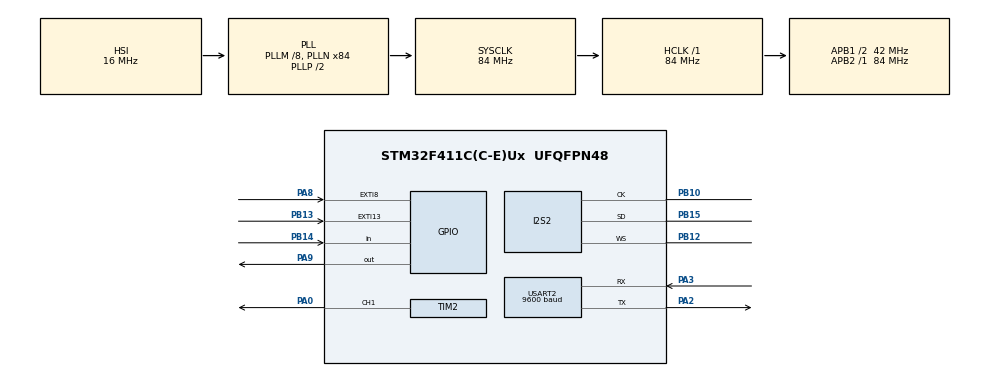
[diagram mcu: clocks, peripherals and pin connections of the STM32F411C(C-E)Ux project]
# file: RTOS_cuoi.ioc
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Dma.Request0=SPI2_RX
Dma.SPI2_RX.0.Direction=DMA_PERIPH_TO_MEMORY
Dma.SPI2_RX.0.FIFOMode=DMA_FIFOMODE_DISABLE
Dma.SPI2_RX.0.Instance=DMA1_Stream3
Dma.SPI2_RX.0.MemDataAlignment=DMA_MDATAALIGN_HALFWORD
Dma.SPI2_RX.0.MemInc=DMA_MINC_ENABLE
Dma.SPI2_RX.0.Mode=DMA_CIRCULAR
Dma.SPI2_RX.0.PeriphDataAlignment=DMA_PDATAALIGN_HALFWORD
Dma.SPI2_RX.0.PeriphInc=DMA_PINC_DISABLE
Dma.SPI2_RX.0.Priority=DMA_PRIORITY_LOW
FREERTOS.Tasks01=I2S_led,12,128,I2S_ledTask,Default,NULL,Dynamic,NULL,NULL
I2S2.AudioFreq=I2S_AUDIOFREQ_16K
I2S2.ErrorAudioFreq=-0.26 %
I2S2.FullDuplexMode=I2S_FULLDUPLEXMODE_DISABLE
I2S2.Instance=SPI$Index
I2S2.Mode=I2S_MODE_MASTER_RX
I2S2.RealAudioFreq=15.957 KHz
I2S2.VirtualMode=I2S_MODE_MASTER
Mcu.Family=STM32F4
Mcu.Name=STM32F411C(C-E)Ux
Mcu.Package=UFQFPN48
NVIC.DMA1_Stream3_IRQn=true\:5\:0\:false\:false\:true\:true\:false\:true\:true
NVIC.EXTI15_10_IRQn=true\:5\:0\:false\:false\:true\:true\:true\:true\:true
NVIC.EXTI9_5_IRQn=true\:5\:0\:false\:false\:true\:true\:true\:true\:true
NVIC.PriorityGroup=NVIC_PRIORITYGROUP_4
NVIC.TIM4_IRQn=true\:15\:0\:false\:false\:true\:false\:false\:true\:true
NVIC.TimeBase=TIM4_IRQn
NVIC.TimeBaseIP=TIM4
PA0-WKUP.Signal=S_TIM2_CH1_ETR
PA13.Mode=Serial_Wire
PA13.Signal=SYS_JTMS-SWDIO
PA14.Mode=Serial_Wire
PA14.Signal=SYS_JTCK-SWCLK
PA2.Mode=Asynchronous
PA2.Signal=USART2_TX
PA3.Mode=Asynchronous
PA3.Signal=USART2_RX
PA8.GPIO_ModeDefaultEXTI=GPIO_MODE_IT_RISING
PA8.GPIO_PuPd=GPIO_PULLUP
PA8.Signal=GPXTI8
PA9.GPIO_Speed=GPIO_SPEED_FREQ_LOW
PA9.Signal=GPIO_Output
PB10.Mode=Half_Duplex_Master
PB10.Signal=I2S2_CK
PB12.Mode=Half_Duplex_Master
PB12.Signal=I2S2_WS
PB13.GPIO_PuPd=GPIO_PULLUP
PB13.Signal=GPXTI13
PB14.GPIO_PuPd=GPIO_PULLUP
PB14.Signal=GPIO_Input
PB15.Mode=Half_Duplex_Master
PB15.Signal=I2S2_SD
PH0\ -\ OSC_IN.Mode=HSE-External-Oscillator
PH0\ -\ OSC_IN.Signal=RCC_OSC_IN
PH1\ -\ OSC_OUT.Mode=HSE-External-Oscillator
PH1\ -\ OSC_OUT.Signal=RCC_OSC_OUT
ProjectManager.HeapSize=0x200
ProjectManager.StackSize=0x400
ProjectManager.TargetToolchain=STM32CubeIDE
RCC.48MHZClocksFreq_Value=42000000
RCC.AHBFreq_Value=84000000
RCC.APB1CLKDivider=RCC_HCLK_DIV2
RCC.APB1Freq_Value=42000000
RCC.APB1TimFreq_Value=84000000
RCC.APB2Freq_Value=84000000
RCC.APB2TimFreq_Value=84000000
RCC.CortexFreq_Value=84000000
RCC.HCLKFreq_Value=84000000
RCC.HSE_VALUE=25000000
RCC.HSI_VALUE=16000000
RCC.LSE_VALUE=32768
RCC.PLLM=8
RCC.PLLN=84
RCC.SYSCLKFreq_VALUE=84000000
RCC.SYSCLKSource=RCC_SYSCLKSOURCE_PLLCLK
RCC.VCOOutputFreq_Value=168000000
SH.S_TIM2_CH1_ETR.0=TIM2_CH1,PWM Generation1 CH1
TIM2.AutoReloadPreload=TIM_AUTORELOAD_PRELOAD_ENABLE
TIM2.Channel-PWM\ Generation1\ CH1=TIM_CHANNEL_1
TIM2.Period=104
USART2.BaudRate=9600
USART2.VirtualMode=VM_ASYNC
VP_FREERTOS_VS_CMSIS_V2.Mode=CMSIS_V2
VP_SYS_VS_tim4.Mode=TIM4
board=custom

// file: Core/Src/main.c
/* USER CODE BEGIN Header */
/**
  ******************************************************************************
  * @file           : main.c
  * @brief          : Main program body
  ******************************************************************************
  */
/* USER CODE END Header */
#include "main.h"
#include "cmsis_os.h"

/* USER CODE BEGIN Includes */
#include "stdarg.h"
#include <string.h>
#include <stdio.h>
#include <stdlib.h>
#include "I2c.h"
#include "Flash.h"
#include "Oled.h"
#include "RTC.h"
#include "Led.h"
#include "DFPLAYER.h"
/* USER CODE END Includes */

I2S_HandleTypeDef hi2s2;
DMA_HandleTypeDef hdma_spi2_rx;

TIM_HandleTypeDef htim2;

UART_HandleTypeDef huart2;

/* Definitions for I2S_led */
osThreadId_t I2S_ledHandle;
const osThreadAttr_t I2S_led_attributes = {
  .name = "I2S_led",
  .stack_size = 128 * 4,
  .priority = (osPriority_t) osPriorityHigh,
};
/* USER CODE BEGIN PV */
osThreadId_t I2C_TimeHandle;
const osThreadAttr_t I2C_Time_atributes = {
    .name = "I2C_Time",
    .stack_size = 256*4,
    .priority = (osPriority_t)osPriorityBelowNormal,
};
osThreadId_t I2C_Time_ClockHandle;
const osThreadAttr_t I2C_Time_Clock_atributes = {
    .name = "I2C_Time_Clock",
    .stack_size = 128*4,
    .priority = (osPriority_t)osPriorityNormal,
};

#define AUDIO_BUFFER_SIZE 1024
uint16_t audio_buffer[AUDIO_BUFFER_SIZE];
volatile uint8_t data_ready_flag = 0;
/* USER CODE END PV */

void SystemClock_Config(void);
static void MX_GPIO_Init(void);
static void MX_DMA_Init(void);
static void MX_TIM2_Init(void);
static void MX_I2S2_Init(void);
static void MX_USART2_UART_Init(void);
void I2S_ledTask(void *argument);
void I2C_TimeTask(void *argument);
void I2C_Time_ClockTask(void *argument);

/* USER CODE BEGIN 0 */
char chuyendoi[20];
char chuyen[25];

void chuyen_doi1(RTC_1307_time gia_tri){
    sprintf(chuyendoi, "%02d:%02d:%02d",
            gia_tri.register_hours,
            gia_tri.register_Minutes,
            gia_tri.register_seconds);
}

typedef enum {
    STATE_DONG_HO = 0,
    STATE_MAIN_MENU,
    STATE_SET_RTC_THU,
    STATE_SET_RTC_GIO,
    STATE_SET_RTC_PHUT,
    STATE_SET_RTC_NGAY,
    STATE_SET_RTC_THANG,
    STATE_SET_RTC_NAM,
    STATE_MENU_CHON_ALM,
    STATE_EDIT_ALM_GIO,
    STATE_EDIT_ALM_PHUT,
    STATE_CONFIRM_SAVE,
	STATE_MUSIC,
	STATE_MUSIC_ALM,
	STATE_MUSIC_SONG,
	STATE_MUSIC_SAVE,
	STATE_MUSIC_OFF
} UI_State_t;

UI_State_t trang_thai_ui = STATE_DONG_HO;
DFPLAYER_Name MP3;

HenGio_t danh_sach_bao_thuc[2];

uint8_t vi_tri_menu_chinh = 0;
uint8_t alm_dang_chon = 0;
uint8_t lua_chon_save = 1;
uint8_t lua_chon_save_bh =1;
uint8_t ghi_0_Flash = 0xFF;

volatile uint8_t flag_MENU = 0;
volatile uint8_t flag_ENTER = 0;
volatile uint8_t co_luu_rtc = 0;
volatile uint8_t co_luu_flash = 0;

volatile uint32_t thoi_gian_chong_nhieu_pin13 = 0;
volatile uint32_t thoi_gian_chong_nhieu_pin8 = 0;
// cho hàm loa
uint8_t Rx_Buffer [10];

void HAL_GPIO_EXTI_Callback(uint16_t GPIO_Pin){
    if (GPIO_Pin == GPIO_PIN_13){ // Nút PB13 làm Nút Menu/Thoát
        if ((HAL_GetTick() - thoi_gian_chong_nhieu_pin13) > 300){
            flag_MENU = 1;
            thoi_gian_chong_nhieu_pin13 = HAL_GetTick();
        }
    }
    if (GPIO_Pin == GPIO_PIN_8){  // Nút PA8 làm Nút Enter
        if ((HAL_GetTick() - thoi_gian_chong_nhieu_pin8) > 300){
            flag_ENTER = 1;
            thoi_gian_chong_nhieu_pin8 = HAL_GetTick();
        }
    }
}

//uint8_t Check_Button_Next(void) {
//    if (HAL_GPIO_ReadPin(GPIOB, GPIO_PIN_14) == GPIO_PIN_RESET) {
//        osDelay(50);
//        if (HAL_GPIO_ReadPin(GPIOB, GPIO_PIN_14) == GPIO_PIN_RESET) {
//            while(HAL_GPIO_ReadPin(GPIOB, GPIO_PIN_14) == GPIO_PIN_RESET) { osDelay(10); }
//            return 1;
//        }
//    }
//    return 0;
//}
uint8_t Check_Button_Next(void) {
    // Biến static để nhớ thời gian giữ nút qua mỗi vòng lặp
    static uint16_t time_hold = 0;

    // Nút đang bị ấn xuống (Mức 0)
    if (HAL_GPIO_ReadPin(GPIOB, GPIO_PIN_14) == GPIO_PIN_RESET) {
        time_hold++; // Tăng bộ đếm thời gian giữ

        // 1. BẤM NHẢ BÌNH THƯỜNG (Xử lý ngay ở lần quét đầu tiên)
        if (time_hold == 1) {
            osDelay(20); // Chống nhiễu nhẹ
            if (HAL_GPIO_ReadPin(GPIOB, GPIO_PIN_14) == GPIO_PIN_RESET) {
                return 1; // Bấm phát ăn ngay 1 đơn vị
            } else {
                time_hold = 0; // Nhiễu thì reset
            }
        }
        // 2. NHẤN GIỮ TĂNG TỐC
        // Vòng lặp RTOS của bạn đang trễ 50ms.
        // Đợi time_hold > 10 (tức là 10 * 50ms = 500ms) thì bắt đầu tăng liên tục
        else if (time_hold > 6) {
            time_hold = 3; // Trả bộ đếm về 7 để 3 vòng lặp sau (150ms) nó lại nhảy vào đây tiếp -> Tốc độ tăng vừa phải không bị vụt quá nhanh
            return 1;
        }
    }
    // Người dùng đã nhả nút (Mức 1)
    else {
        time_hold = 0; // Reset bộ đếm về 0 để sẵn sàng cho lần bấm tiếp theo
    }

    return 0; // Không có sự kiện bấm
}
void turn_on_off (int on_off,DFPLAYER_Name* MP3,uint8_t folder, uint32_t num ){

	if (on_off==1){
		DFPLAYER_PlayFileInFolder(MP3, folder, num);
	}
	if (on_off==0){
		DFPLAYER_Stop(MP3);
	}
	vTaskResume(I2S_ledHandle);
	vTaskResume(I2C_Time_ClockHandle);
}

/* USER CODE END 0 */

int main(void)
{

  /* MCU Configuration--------------------------------------------------------*/

  /* Reset of all peripherals, Initializes the Flash interface and the Systick. */
  HAL_Init();

  /* Configure the system clock */
  SystemClock_Config();

  /* Initialize all configured peripherals */
  MX_GPIO_Init();
  MX_DMA_Init();
  MX_TIM2_Init();
  MX_I2S2_Init();
  MX_USART2_UART_Init();

  /* Init scheduler */
  osKernelInitialize();

  /* Create the thread(s) */
  /* creation of I2S_led */
  I2S_ledHandle = osThreadNew(I2S_ledTask, NULL, &I2S_led_attributes);

  /* USER CODE BEGIN RTOS_THREADS */
  I2C_TimeHandle      = osThreadNew(I2C_TimeTask,       NULL, &I2C_Time_atributes);
  I2C_Time_ClockHandle= osThreadNew(I2C_Time_ClockTask, NULL, &I2C_Time_Clock_atributes);
  /* add threads, ... */
  /* USER CODE END RTOS_THREADS */

  /* Start scheduler */
  osKernelStart();

  /* We should never get here as control is now taken by the scheduler */

  /* Infinite loop */
  while (1)
  {

  }
}

void SystemClock_Config(void)
{
  RCC_OscInitTypeDef RCC_OscInitStruct = {0};
  RCC_ClkInitTypeDef RCC_ClkInitStruct = {0};

  /** Configure the main internal regulator output voltage
  */
  __HAL_RCC_PWR_CLK_ENABLE();
  __HAL_PWR_VOLTAGESCALING_CONFIG(PWR_REGULATOR_VOLTAGE_SCALE1);

  /** Initializes the RCC Oscillators according to the specified parameters
  * in the RCC_OscInitTypeDef structure.
  */
  RCC_OscInitStruct.OscillatorType = RCC_OSCILLATORTYPE_HSI;
  RCC_OscInitStruct.HSIState = RCC_HSI_ON;
  RCC_OscInitStruct.HSICalibrationValue = RCC_HSICALIBRATION_DEFAULT;
  RCC_OscInitStruct.PLL.PLLState = RCC_PLL_ON;
  RCC_OscInitStruct.PLL.PLLSource = RCC_PLLSOURCE_HSI;
  RCC_OscInitStruct.PLL.PLLM = 8;
  RCC_OscInitStruct.PLL.PLLN = 84;
  RCC_OscInitStruct.PLL.PLLP = RCC_PLLP_DIV2;
  RCC_OscInitStruct.PLL.PLLQ = 4;
  if (HAL_RCC_OscConfig(&RCC_OscInitStruct) != HAL_OK)
  {
    Error_Handler();
  }

  /** Initializes the CPU, AHB and APB buses clocks
  */
  RCC_ClkInitStruct.ClockType = RCC_CLOCKTYPE_HCLK|RCC_CLOCKTYPE_SYSCLK
                              |RCC_CLOCKTYPE_PCLK1|RCC_CLOCKTYPE_PCLK2;
  RCC_ClkInitStruct.SYSCLKSource = RCC_SYSCLKSOURCE_PLLCLK;
  RCC_ClkInitStruct.AHBCLKDivider = RCC_SYSCLK_DIV1;
  RCC_ClkInitStruct.APB1CLKDivider = RCC_HCLK_DIV2;
  RCC_ClkInitStruct.APB2CLKDivider = RCC_HCLK_DIV1;

  if (HAL_RCC_ClockConfig(&RCC_ClkInitStruct, FLASH_LATENCY_2) != HAL_OK)
  {
    Error_Handler();
  }
}

static void MX_I2S2_Init(void)
{

  hi2s2.Instance = SPI2;
  hi2s2.Init.Mode = I2S_MODE_MASTER_RX;
  hi2s2.Init.Standard = I2S_STANDARD_PHILIPS;
  hi2s2.Init.DataFormat = I2S_DATAFORMAT_16B;
  hi2s2.Init.MCLKOutput = I2S_MCLKOUTPUT_DISABLE;
  hi2s2.Init.AudioFreq = I2S_AUDIOFREQ_16K;
  hi2s2.Init.CPOL = I2S_CPOL_LOW;
  hi2s2.Init.ClockSource = I2S_CLOCK_PLL;
  hi2s2.Init.FullDuplexMode = I2S_FULLDUPLEXMODE_DISABLE;
  if (HAL_I2S_Init(&hi2s2) != HAL_OK)
  {
    Error_Handler();
  }

}

static void MX_TIM2_Init(void)
{

  TIM_MasterConfigTypeDef sMasterConfig = {0};
  TIM_OC_InitTypeDef sConfigOC = {0};

  htim2.Instance = TIM2;
  htim2.Init.Prescaler = 0;
  htim2.Init.CounterMode = TIM_COUNTERMODE_UP;
  htim2.Init.Period = 104;
  htim2.Init.ClockDivision = TIM_CLOCKDIVISION_DIV1;
  htim2.Init.AutoReloadPreload = TIM_AUTORELOAD_PRELOAD_ENABLE;
  if (HAL_TIM_PWM_Init(&htim2) != HAL_OK)
  {
    Error_Handler();
  }
  sMasterConfig.MasterOutputTrigger = TIM_TRGO_RESET;
  sMasterConfig.MasterSlaveMode = TIM_MASTERSLAVEMODE_DISABLE;
  if (HAL_TIMEx_MasterConfigSynchronization(&htim2, &sMasterConfig) != HAL_OK)
  {
    Error_Handler();
  }
  sConfigOC.OCMode = TIM_OCMODE_PWM1;
  sConfigOC.Pulse = 0;
  sConfigOC.OCPolarity = TIM_OCPOLARITY_HIGH;
  sConfigOC.OCFastMode = TIM_OCFAST_DISABLE;
  if (HAL_TIM_PWM_ConfigChannel(&htim2, &sConfigOC, TIM_CHANNEL_1) != HAL_OK)
  {
    Error_Handler();
  }
  HAL_TIM_MspPostInit(&htim2);

}

static void MX_USART2_UART_Init(void)
{

  huart2.Instance = USART2;
  huart2.Init.BaudRate = 9600;
  huart2.Init.WordLength = UART_WORDLENGTH_8B;
  huart2.Init.StopBits = UART_STOPBITS_1;
  huart2.Init.Parity = UART_PARITY_NONE;
  huart2.Init.Mode = UART_MODE_TX_RX;
  huart2.Init.HwFlowCtl = UART_HWCONTROL_NONE;
  huart2.Init.OverSampling = UART_OVERSAMPLING_16;
  if (HAL_UART_Init(&huart2) != HAL_OK)
  {
    Error_Handler();
  }

}

static void MX_DMA_Init(void)
{

  /* DMA controller clock enable */
  __HAL_RCC_DMA1_CLK_ENABLE();

  /* DMA interrupt init */
  /* DMA1_Stream3_IRQn interrupt configuration */
  HAL_NVIC_SetPriority(DMA1_Stream3_IRQn, 5, 0);
  HAL_NVIC_EnableIRQ(DMA1_Stream3_IRQn);

}

static void MX_GPIO_Init(void)
{
  GPIO_InitTypeDef GPIO_InitStruct = {0};

  /* GPIO Ports Clock Enable */
  __HAL_RCC_GPIOH_CLK_ENABLE();
  __HAL_RCC_GPIOA_CLK_ENABLE();
  __HAL_RCC_GPIOB_CLK_ENABLE();

  /*Configure GPIO pin Output Level */
  HAL_GPIO_WritePin(GPIOA, GPIO_PIN_9, GPIO_PIN_RESET);

  /*Configure GPIO pin : PB13 */
  GPIO_InitStruct.Pin = GPIO_PIN_13;
  GPIO_InitStruct.Mode = GPIO_MODE_IT_RISING;
  GPIO_InitStruct.Pull = GPIO_PULLUP;
  HAL_GPIO_Init(GPIOB, &GPIO_InitStruct);

  /*Configure GPIO pin : PB14 */
  GPIO_InitStruct.Pin = GPIO_PIN_14;
  GPIO_InitStruct.Mode = GPIO_MODE_INPUT;
  GPIO_InitStruct.Pull = GPIO_PULLUP;
  HAL_GPIO_Init(GPIOB, &GPIO_InitStruct);

  /*Configure GPIO pin : PA8 */
  GPIO_InitStruct.Pin = GPIO_PIN_8;
  GPIO_InitStruct.Mode = GPIO_MODE_IT_RISING;
  GPIO_InitStruct.Pull = GPIO_PULLUP;
  HAL_GPIO_Init(GPIOA, &GPIO_InitStruct);

  /*Configure GPIO pin : PA9 */
  GPIO_InitStruct.Pin = GPIO_PIN_9;
  GPIO_InitStruct.Mode = GPIO_MODE_OUTPUT_PP;
  GPIO_InitStruct.Pull = GPIO_NOPULL;
  GPIO_InitStruct.Speed = GPIO_SPEED_FREQ_LOW;
  HAL_GPIO_Init(GPIOA, &GPIO_InitStruct);

  /* EXTI interrupt init*/
  HAL_NVIC_SetPriority(EXTI9_5_IRQn, 5, 0);
  HAL_NVIC_EnableIRQ(EXTI9_5_IRQn);

  HAL_NVIC_SetPriority(EXTI15_10_IRQn, 5, 0);
  HAL_NVIC_EnableIRQ(EXTI15_10_IRQn);

}

/* USER CODE BEGIN 4 */
void HAL_I2S_RxHalfCpltCallback(I2S_HandleTypeDef *hi2s) { if (hi2s->Instance == SPI2) data_ready_flag = 1; }
void HAL_I2S_RxCpltCallback(I2S_HandleTypeDef *hi2s)     { if (hi2s->Instance == SPI2) data_ready_flag = 2; }
void HAL_I2S_ErrorCallback(I2S_HandleTypeDef *hi2s)       { if (hi2s->Instance == SPI2) HAL_I2S_Receive_DMA(&hi2s2, audio_buffer, AUDIO_BUFFER_SIZE); }

/* ======================================================================
 * TASK QUẢN LÝ GIAO DIỆN OLED (BẢO VỆ I2C BẰNG vTaskSuspendAll)
 * ====================================================================== */
void I2C_TimeTask(void *argument){
    I2C_Init();
    MX_USART2_UART_Init();
  // cau_hinh(&timer);
    OLED_init();
    Clear_all();
	DFPLAYER_Init(&MP3, &huart2);

    static uint8_t giay_cu = 255;
    static uint8_t vi_tri_menu_Music =0;
    static uint8_t chon_nhac =0;
    static uint32_t tong_bai_hat =5;
    static uint8_t am_thanh=5;
    static uint8_t am_thanh_co =0;

    Read_Flash((void*)FLASH_HEN_GIO_ADDR, (char*)danh_sach_bao_thuc, sizeof(danh_sach_bao_thuc));
    for (int i = 0; i < 2; i++) {
        if (danh_sach_bao_thuc[i].da_dat != 0xFF) {
            if (danh_sach_bao_thuc[i].gio > 23 || danh_sach_bao_thuc[i].phut > 59) {
                danh_sach_bao_thuc[i].da_dat = 0xFF;
            }
        }
    }

    uint8_t old_ui_state = 255;

    while(1){
        // 1. CẬP NHẬT DỮ LIỆU I2C AN TOÀN
    	uint8_t btn_next = Check_Button_Next();
        if (co_luu_rtc == 1) {
            vTaskSuspendAll(); cau_hinh(&timer); xTaskResumeAll();
            co_luu_rtc = 0;
        }

        if (trang_thai_ui == STATE_DONG_HO || trang_thai_ui == STATE_MAIN_MENU || trang_thai_ui >= STATE_MENU_CHON_ALM ) {
            vTaskSuspendAll(); doc(&timer); xTaskResumeAll();

        }
        if (am_thanh_co==1){
        	osDelay(10);
        	vTaskSuspendAll();
        	Clear_page();
        	xTaskResumeAll();
        }

        //chuyen_doi1(timer);

        // 2. VẼ MÀN HÌNH CHUNG LÊN OLED AN TOÀN
//        vTaskSuspendAll();
//        point_many(0, 15, chuyendoi);
//        sprintf(chuyen, "%s %02d.%02d.%02d", mang_thu[timer.register_Day], timer.register_Date, timer.register_Month, timer.register_Year);
//
//        oled_string_5x7(3, 20, chuyen);
//        xTaskResumeAll();
       // if (timer.register_seconds != giay_cu) {

                    // 1. Chuyển đổi dữ liệu (Chạy cực nhanh trên RAM, không cần khóa)
                    chuyen_doi1(timer);
                    sprintf(chuyen, "%s %02d.%02d.%02d", mang_thu[timer.register_Day], timer.register_Date, timer.register_Month, timer.register_Year);

                    vTaskSuspendAll();
                    point_many(0, 15, chuyendoi);
                    xTaskResumeAll();  // Mở khóa ra ngay lập tức

                    osDelay(2);

                    // 3. Khóa RTOS lại để truyền dòng 2 (Ngày tháng năm)
                    vTaskSuspendAll();
                    oled_string_5x7(3, 20, chuyen);
                    xTaskResumeAll(); // Lại mở khóa ra

                    // 4. Cập nhật lại mốc thời gian
                    giay_cu = timer.register_seconds;
         //       }

        if (trang_thai_ui != old_ui_state) {
            vTaskSuspendAll(); Clear_page(); xTaskResumeAll();
            old_ui_state = trang_thai_ui;
        }

        // 3. ĐỌC NÚT BẤM (KHÔNG ĐƯỢC CHỨA TRONG vTaskSuspendAll)
        //uint8_t btn_next = Check_Button_Next();

        // 4. MÁY TRẠNG THÁI (VẼ UI VÀ XỬ LÝ LOGIC)
        switch(trang_thai_ui) {
            case STATE_DONG_HO:
                // --- PHẦN VẼ UI ---
                if (btn_next) {
                	am_thanh++;
                	if(am_thanh >29 ) am_thanh=0;
                	DFPLAYER_SetVolume(&MP3,am_thanh);
                	vTaskSuspendAll();
                	sprintf(chuyen, "LOA  %02d", am_thanh);
                	point_many(4, 12, chuyen);
                	//am_thanh_co=1;
                	xTaskResumeAll();
                }
                osDelay(10);
                vTaskSuspendAll();
                if (ghi_0_Flash != 0xFF) { // khi cờ báo thức được set
                    if ((HAL_GetTick() / 300) % 2 == 0){
                    	Clear_page();
                    	oled_string_5x7(5, 25, "DEN GIO !!!");
                    	//oled_string_5x7(7, 25, "BAM NUT TAT");
                    } else {
                    	Clear_page();
                    	oled_string_5x7(5, 25, "           ");
                    	//oled_string_5x7(7, 25, "           ");
                    }
                } else {
                    if (danh_sach_bao_thuc[0].da_dat == 1 || danh_sach_bao_thuc[1].da_dat == 1) {
                    	Clear_page();
                        oled_string_5x7(7, 30, "HEN GIO BAT");
                    } else {
                    	Clear_page();
                        oled_string_5x7(7, 30, "HEN GIO TAT");
                    }
                }
                xTaskResumeAll();

                // --- PHẦN LOGIC --- khi cờ ghi_0_Flash dược set ( có báo thức) Khi nhấn nút thì tắt còi
                // rồi ghi vào Flash.da_dat =0
                if (ghi_0_Flash != 0xFF) {
                    if (flag_MENU || flag_ENTER) {
                        //HAL_GPIO_WritePin(GPIOA, GPIO_PIN_9, 0); // Tắt còi
                    	DFPLAYER_Stop(&MP3);
                        if (ghi_0_Flash < 2) {
                            danh_sach_bao_thuc[ghi_0_Flash].da_dat = 0;
                            co_luu_flash = 1;
                        }
                        ghi_0_Flash = 0xFF;
                        flag_MENU = 0; flag_ENTER = 0;
                        vTaskSuspendAll(); Clear_page(); xTaskResumeAll();
                    }
                } else {
                    if (flag_MENU || flag_ENTER) {
                        flag_MENU = 0; flag_ENTER = 0;
                        trang_thai_ui = STATE_MAIN_MENU;
                        vi_tri_menu_chinh = 0;
                    }
                }
                break;

            case STATE_MAIN_MENU:
                vTaskSuspendAll();
                oled_string_5x7(4, 0, "--- MAIN MENU ---");
                if (vi_tri_menu_chinh == 0) {
                    oled_string_5x7(5, 5, "> 1. SET CLOCK");
                    oled_string_5x7(6, 5, "  2. SET HEN GIO");
                    oled_string_5x7(7, 5, "  3. SET MUSIC");
                } else if  (vi_tri_menu_chinh ==1) {
                    oled_string_5x7(5, 5, "  1. SET CLOCK");
                    oled_string_5x7(6, 5, "> 2. SET HEN GIO");
                    oled_string_5x7(7, 5, "  3. SET MUSIC");
                } else {
                    oled_string_5x7(5, 5, "  1. SET CLOCK");
                    oled_string_5x7(6, 5, "  2. SET HEN GIO");
                    oled_string_5x7(7, 5, "> 3. SET MUSIC");
                }
                xTaskResumeAll();

                if (btn_next) {
                	vi_tri_menu_chinh ++;
                	if (vi_tri_menu_chinh>2)vi_tri_menu_chinh=0;
                 }
                if (flag_ENTER) {
                    flag_ENTER = 0;
                    if (vi_tri_menu_chinh == 0) trang_thai_ui = STATE_SET_RTC_THU;
                    else if (vi_tri_menu_chinh==1) trang_thai_ui = STATE_MENU_CHON_ALM;
                    else {
                    	vi_tri_menu_Music=0;
                    	trang_thai_ui = STATE_MUSIC;

                    }
                }
                if (flag_MENU) {
                    flag_MENU = 0;
                    trang_thai_ui = STATE_DONG_HO;
                }
                break;

            case STATE_SET_RTC_THU:
                vTaskSuspendAll();
                oled_string_5x7(4, 0, "-- SET CLOCK --");
                sprintf(chuyen, "> DAY : %s", mang_thu[timer.register_Day]);
                oled_string_5x7(6, 5, chuyen);
                xTaskResumeAll();

                if (btn_next) { timer.register_Day++; if(timer.register_Day > 7) timer.register_Day = 1; }
                if (flag_ENTER) { flag_ENTER = 0; trang_thai_ui = STATE_SET_RTC_GIO; }
                if (flag_MENU) { flag_MENU = 0; trang_thai_ui = STATE_MAIN_MENU; }
                break;

            case STATE_SET_RTC_GIO:
                vTaskSuspendAll();
                oled_string_5x7(4, 0, "-- SET CLOCK --");
                sprintf(chuyen, "> HOUR: %02d", timer.register_hours);
                oled_string_5x7(6, 5, chuyen);
                xTaskResumeAll();

                if (btn_next) { timer.register_hours++; if(timer.register_hours > 23) timer.register_hours = 0; }
                if (flag_ENTER) { flag_ENTER = 0; trang_thai_ui = STATE_SET_RTC_PHUT; }
                if (flag_MENU) { flag_MENU = 0; trang_thai_ui = STATE_SET_RTC_THU; }
                break;

            case STATE_SET_RTC_PHUT:
                vTaskSuspendAll();
                oled_string_5x7(4, 0, "-- SET CLOCK --");
                sprintf(chuyen, "> MIN : %02d", timer.register_Minutes);
                oled_string_5x7(6, 5, chuyen);
                xTaskResumeAll();

                if (btn_next) { timer.register_Minutes++; if(timer.register_Minutes > 59) timer.register_Minutes = 0; }
                if (flag_ENTER) { flag_ENTER = 0; trang_thai_ui = STATE_SET_RTC_NGAY; }
                if (flag_MENU) { flag_MENU = 0; trang_thai_ui = STATE_SET_RTC_GIO; }
                break;

            case STATE_SET_RTC_NGAY:
                vTaskSuspendAll();
                oled_string_5x7(4, 0, "-- SET CLOCK --");
                sprintf(chuyen, "> DATE: %02d", timer.register_Date);
                oled_string_5x7(6, 5, chuyen);
                xTaskResumeAll();

                if (btn_next) { timer.register_Date++; if(timer.register_Date > 31) timer.register_Date = 1; }
                if (flag_ENTER) { flag_ENTER = 0; trang_thai_ui = STATE_SET_RTC_THANG; }
                if (flag_MENU) { flag_MENU = 0; trang_thai_ui = STATE_SET_RTC_PHUT; }
                break;

            case STATE_SET_RTC_THANG:
                vTaskSuspendAll();
                oled_string_5x7(4, 0, "-- SET CLOCK --");
                sprintf(chuyen, "> MNTH: %02d", timer.register_Month);
                oled_string_5x7(6, 5, chuyen);
                xTaskResumeAll();

                if (btn_next) { timer.register_Month++; if(timer.register_Month > 12) timer.register_Month = 1; }
                if (flag_ENTER) { flag_ENTER = 0; trang_thai_ui = STATE_SET_RTC_NAM; }
                if (flag_MENU) { flag_MENU = 0; trang_thai_ui = STATE_SET_RTC_NGAY; }
                break;

            case STATE_SET_RTC_NAM:
                vTaskSuspendAll();
                oled_string_5x7(4, 0, "-- SET CLOCK --");
                sprintf(chuyen, "> YEAR: 20%02d", timer.register_Year);
                oled_string_5x7(6, 5, chuyen);
                xTaskResumeAll();

                if (btn_next) { timer.register_Year++; if(timer.register_Year > 99) timer.register_Year = 0; }
                if (flag_ENTER) {
                    flag_ENTER = 0; co_luu_rtc = 1; trang_thai_ui = STATE_DONG_HO;
                }
                if (flag_MENU) { flag_MENU = 0; trang_thai_ui = STATE_SET_RTC_THANG; }
                break;

            case STATE_MENU_CHON_ALM:
                vTaskSuspendAll();
                oled_string_5x7(4, 0, "--- HEN GIO ---");
                for (int i = 0; i < 2; i++) {
                    if (danh_sach_bao_thuc[i].da_dat == 0xFF) {
                        sprintf(chuyen, "%c HG %d: --:--", (alm_dang_chon == i) ? '>' : ' ', i + 1);
                    } else {
                        sprintf(chuyen, "%c HG% d: %02d:%02d [%s]",
                                (alm_dang_chon == i) ? '>' : ' ', i + 1,
                                danh_sach_bao_thuc[i].gio, danh_sach_bao_thuc[i].phut,
                                (danh_sach_bao_thuc[i].da_dat == 1) ? "ON " : "OFF");
                    }
                    oled_string_5x7(5 + i, 0, chuyen);
                }
                xTaskResumeAll();

                if (btn_next) { alm_dang_chon = 1 - alm_dang_chon; }
                if (flag_ENTER) {
                    flag_ENTER = 0; trang_thai_ui = STATE_EDIT_ALM_GIO;
                    if (danh_sach_bao_thuc[alm_dang_chon].da_dat == 0xFF) {
                        danh_sach_bao_thuc[alm_dang_chon].gio = 0;
                        danh_sach_bao_thuc[alm_dang_chon].phut = 0;
                    }
                }
                if (flag_MENU) { flag_MENU = 0; trang_thai_ui = STATE_MAIN_MENU; }
                break;

            case STATE_EDIT_ALM_GIO:
                vTaskSuspendAll();
                sprintf(chuyen, "-- EDIT HG %d --", alm_dang_chon + 1);
                oled_string_5x7(4, 0, chuyen);
                sprintf(chuyen, "> HOUR: %02d", danh_sach_bao_thuc[alm_dang_chon].gio);
                oled_string_5x7(6, 5, chuyen);
                xTaskResumeAll();

                if (btn_next) {
                    danh_sach_bao_thuc[alm_dang_chon].gio++;
                    if (danh_sach_bao_thuc[alm_dang_chon].gio > 23) danh_sach_bao_thuc[alm_dang_chon].gio = 0;
                }
                if (flag_ENTER) { flag_ENTER = 0; trang_thai_ui = STATE_EDIT_ALM_PHUT; }
                if (flag_MENU) { flag_MENU = 0; trang_thai_ui = STATE_MENU_CHON_ALM; }
                break;

            case STATE_EDIT_ALM_PHUT:
                vTaskSuspendAll();
                sprintf(chuyen, "-- EDIT HG %d --", alm_dang_chon + 1);
                oled_string_5x7(4, 0, chuyen);
                sprintf(chuyen, "> MIN : %02d", danh_sach_bao_thuc[alm_dang_chon].phut);
                oled_string_5x7(6, 5, chuyen);
                xTaskResumeAll();

                if (btn_next) {
                    danh_sach_bao_thuc[alm_dang_chon].phut++;
                    if (danh_sach_bao_thuc[alm_dang_chon].phut > 59) danh_sach_bao_thuc[alm_dang_chon].phut = 0;
                }
                if (flag_ENTER) { flag_ENTER = 0; trang_thai_ui = STATE_CONFIRM_SAVE; lua_chon_save = 1; }
                if (flag_MENU) { flag_MENU = 0; trang_thai_ui = STATE_EDIT_ALM_GIO; }
                break;

            case STATE_CONFIRM_SAVE:
                vTaskSuspendAll();
            	sprintf(chuyen, "-- SAVE HG %d ? --", alm_dang_chon + 1);
                oled_string_5x7(4, 0, chuyen);
                if (lua_chon_save == 1) oled_string_5x7(6, 10, "> SAVE      DELETE ");
                else                    oled_string_5x7(6, 10, "  SAVE    > DELETE ");
                xTaskResumeAll();

                if (btn_next) { lua_chon_save = 1 - lua_chon_save; }
                if (flag_ENTER) {
                    flag_ENTER = 0;
                    if (lua_chon_save == 1) danh_sach_bao_thuc[alm_dang_chon].da_dat = 1;
                    else danh_sach_bao_thuc[alm_dang_chon].da_dat = 0xFF;
                    co_luu_flash = 1;
                    trang_thai_ui = STATE_MENU_CHON_ALM;
                }
                if (flag_MENU) { flag_MENU = 0; trang_thai_ui = STATE_EDIT_ALM_PHUT; }
                break;
            case STATE_MUSIC:
            	vTaskSuspendAll();

            	oled_string_5x7(4, 0, "--- MUSIC ---");
            	if (vi_tri_menu_Music==0){
            		oled_string_5x7(5, 0, "> 1. NHAC THUONG");
            		oled_string_5x7(6, 0, "  2. NHAC BAO THUC");
            		oled_string_5x7(7, 0, "  3. TAT NHAC");
            	}
            	else if (vi_tri_menu_Music==1){
            		oled_string_5x7(5, 0, "  1. NHAC THUONG");
            		oled_string_5x7(6, 0, "> 2. NHAC BAO THUC");
            		oled_string_5x7(7, 0, "  3. TAT NHAC");
            	}
            	else {
            		oled_string_5x7(5, 0, "  1. NHAC THUONG");
            		oled_string_5x7(6, 0, "  2. NHAC BAO THUC");
            		oled_string_5x7(7, 0, "> 3. TAT NHAC");
            	}
            	xTaskResumeAll();
			if (btn_next) {
				vi_tri_menu_Music++;
				if (vi_tri_menu_Music > 2)
					vi_tri_menu_Music = 0;
			}
            	if (flag_ENTER){
            		flag_ENTER=0;
            		Clear_page();
            		if (vi_tri_menu_Music==0) trang_thai_ui = STATE_MUSIC_SONG;
            		else if(vi_tri_menu_Music==1) trang_thai_ui = STATE_MUSIC_ALM;
            		else trang_thai_ui= STATE_MUSIC_OFF;
            	}
            	if (flag_MENU){
            		flag_MENU =0;
            		Clear_page();
            		trang_thai_ui = STATE_MAIN_MENU;
            	}
            	break;
            case STATE_MUSIC_SONG:
            	vTaskSuspendAll();
            	oled_string_5x7(4, 0, "--- CHON NHAC ---");
            	sprintf(chuyen, " BAI SO : %02d",chon_nhac );
            	oled_string_5x7(5,0,chuyen);
            	xTaskResumeAll();
            	osDelay(10);

			if (btn_next) {
				chon_nhac++;

				if (chon_nhac> tong_bai_hat)
					chon_nhac = 0;
				turn_on_off(1, &MP3, 02, chon_nhac);
			}
            	if (flag_ENTER){
            		flag_ENTER=0;
            		Clear_page();
            		vTaskSuspendAll();
            		oled_string_5x7(4, 0, "---DANG PHAT---");
            		xTaskResumeAll();
            		trang_thai_ui = STATE_MUSIC;
            	}
            	if (flag_MENU){
            		flag_MENU =0;
            		Clear_page();
            		trang_thai_ui = STATE_MUSIC;
            	}
            	break;
            case STATE_MUSIC_ALM:
            	vTaskSuspendAll();
            	oled_string_5x7(4, 0, "--- CHON NHAC ---");
            	sprintf(chuyen, " BAI SO : %02d",chon_nhac );
            	oled_string_5x7(5,0,chuyen);
            	xTaskResumeAll();
            	osDelay(10);
    			if (btn_next) {
    				chon_nhac++;
    				if (chon_nhac> tong_bai_hat)
    					chon_nhac = 0;
    				turn_on_off(1, &MP3, 02, chon_nhac);
    			}
            	if (flag_ENTER){
				flag_ENTER = 0;
				Clear_page();
				lua_chon_save_bh = 1;
				trang_thai_ui=STATE_MUSIC_SAVE;
			}
			if (flag_MENU) {
				flag_MENU = 0;
				Clear_page();
				trang_thai_ui = STATE_MUSIC;
			}
			break;
            case STATE_MUSIC_SAVE:
			vTaskSuspendAll();
			sprintf(chuyen, "-- SAVE BH %d ? --", alm_dang_chon + 1);
			oled_string_5x7(4, 0, chuyen);
			if (lua_chon_save == 1)
				oled_string_5x7(6, 10, "> SAVE      DELETE ");
			else
				oled_string_5x7(6, 10, "  SAVE    > DELETE ");
			xTaskResumeAll();

			if (btn_next) {
				lua_chon_save = 1 - lua_chon_save;
			}
			if (flag_ENTER) {
				flag_ENTER = 0;
				if (lua_chon_save == 1){
					danh_sach_bao_thuc[0].bai_hat = chon_nhac;
				    danh_sach_bao_thuc[1].bai_hat = chon_nhac;
				}
				co_luu_flash = 1;
				DFPLAYER_Stop(&MP3);
				trang_thai_ui = STATE_MUSIC;
			}
			if (flag_MENU) {
				flag_MENU = 0;
				DFPLAYER_Stop(&MP3);
				trang_thai_ui = STATE_MUSIC_ALM;
			}
			break;
            case STATE_MUSIC_OFF:
            	Clear_page();
            	DFPLAYER_Stop(&MP3);
            	trang_thai_ui = STATE_MUSIC;
            	break;
        }
        osDelay(50);
    }
}

/* ======================================================================
 * TASK KIỂM TRA & LƯU FLASH (BACKGROUND TASK)
 * ====================================================================== */
/*void I2C_Time_ClockTask(void *argument)
{
    while(1) {
        if (co_luu_flash == 1) {
            Erase_Secter(secter_3);
            osDelay(20);
            Programing((void*)FLASH_HEN_GIO_ADDR, (char*)danh_sach_bao_thuc, sizeof(danh_sach_bao_thuc));
            co_luu_flash = 0;
        }

        for (int i = 0; i < 2; i++) {
            if (danh_sach_bao_thuc[i].da_dat == 1 && trang_thai_ui == STATE_DONG_HO) {
                if (timer.register_hours   == danh_sach_bao_thuc[i].gio  &&
                    timer.register_Minutes == danh_sach_bao_thuc[i].phut &&
                    timer.register_seconds == 0)
                {
                   // HAL_GPIO_WritePin(GPIOA, GPIO_PIN_9, 1);
                	turn_on_off(1, &MP3,02,danh_sach_bao_thuc[0].bai_hat);

                    ghi_0_Flash = i;
                }
            }
        }
        osDelay(100);
    }
}*/
void I2C_Time_ClockTask(void *argument)
{
    while(1) {
        if (co_luu_flash == 1) {
            Erase_Secter(secter_3);
            osDelay(20);
            Programing((void*)FLASH_HEN_GIO_ADDR, (char*)danh_sach_bao_thuc, sizeof(danh_sach_bao_thuc));
            co_luu_flash = 0;
        }

        for (int i = 0; i < 2; i++) {
            if (danh_sach_bao_thuc[i].da_dat == 1 && trang_thai_ui == STATE_DONG_HO) {

                // THÊM ĐIỀU KIỆN: ghi_0_Flash == 0xFF
                if (timer.register_hours   == danh_sach_bao_thuc[i].gio  &&
                    timer.register_Minutes == danh_sach_bao_thuc[i].phut &&
                    timer.register_seconds == 0  &&
                    ghi_0_Flash == 0xFF)
                {
                   // SỬA [0] THÀNH [i] CHO ĐÚNG NHẠC CỦA BÁO THỨC ĐÓ
                   turn_on_off(1, &MP3, 02, danh_sach_bao_thuc[i].bai_hat);
                   ghi_0_Flash = i; // Đánh dấu đã kêu, vòng lặp osDelay tiếp theo sẽ không vào đây nữa
                }
            }
        }
        osDelay(100);
    }
}
/* USER CODE END 4 */

void I2S_ledTask(void *argument)
{
  /* USER CODE BEGIN 5 */
    HAL_I2S_Receive_DMA(&hi2s2, (uint16_t*)audio_buffer, AUDIO_BUFFER_SIZE);
    HAL_TIM_PWM_Start(&htim2, TIM_CHANNEL_1);
    for(;;)
    {
        if (data_ready_flag == 1 || data_ready_flag == 2)
        {
            int start_idx = (data_ready_flag == 1) ? 0 : (AUDIO_BUFFER_SIZE / 2);
            int end_idx = start_idx + (AUDIO_BUFFER_SIZE / 2);
            data_ready_flag = 0;

            int16_t max_val = -32768;
            int16_t min_val = 32767;

            for (int i = start_idx; i < end_idx; i += 2)
            {
                int16_t sample = (int16_t)audio_buffer[i];
                if (sample > max_val) max_val = sample;
                if (sample < min_val) min_val = sample;
            }

            uint32_t amplitude = max_val - min_val;
            int so_led_muc_tieu = 0;

            if (amplitude > 7000)       so_led_muc_tieu = 8;
            else if (amplitude > 5000)   so_led_muc_tieu = 7;
            else if (amplitude > 2000)   so_led_muc_tieu = 6;
            else if (amplitude > 1500)   so_led_muc_tieu = 5;
            else if (amplitude > 900)   so_led_muc_tieu = 4;
            else if (amplitude > 500)    so_led_muc_tieu = 3;
            else if (amplitude > 400)    so_led_muc_tieu = 2;
            else if (amplitude > 300)    so_led_muc_tieu = 1;
            else                         so_led_muc_tieu = 0;

            gui(so_led_muc_tieu);
        }
        osDelay(5); // ĐÃ THAY ĐỔI TỪ 1 THÀNH 20 ĐỂ CỨU I2C
    }
  /* USER CODE END 5 */
}

void HAL_TIM_PeriodElapsedCallback(TIM_HandleTypeDef *htim)
{
  if (htim->Instance == TIM4)
  {
    HAL_IncTick();
  }
}

void Error_Handler(void)
{
  __disable_irq();
  while (1)
  {
  }
}
